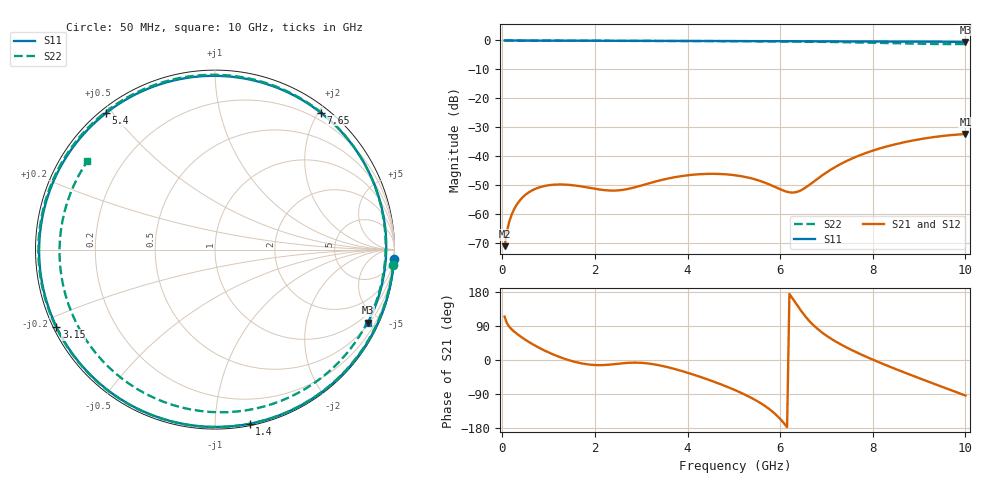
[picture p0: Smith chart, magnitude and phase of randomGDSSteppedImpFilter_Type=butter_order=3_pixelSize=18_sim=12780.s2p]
! freq	dB(S11)	phase(S11)	dB(S12)	phase(S12)
!  dB(S21)	phase(S21)	dB(S22)	phase(S22)
!S-par simulation data
#  GHz  S  DB  R 50
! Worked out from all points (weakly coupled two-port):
!   200 points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, 50 MHz to 10 GHz, reference 50 ohm
!   highest |S21| = -32.36 dB at 10 GHz (marker M1); lowest = -71.1 dB at 50 MHz (marker M2)
!   lowest |S11| = -0.5 dB at 10 GHz (marker M3), VSWR 34.69, Z = 28.9 - j216 ohm
!   |S11| at or under -10 dB: nowhere
!   |S22| runs from -1.3 to 0.0 dB; largest |S21 - S12| = 0
!   S11 on the Smith chart (normalised r, x): 50 MHz: 1, -39; 1.4 GHz: 0.01, -1.22; 3.15 GHz: 0.01, -0.23; 5.4 GHz: 0.02, +0.48; 7.65 GHz: 0.09, +2.03; 10 GHz: 0.58, -4.33
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0.05  -0.01 -2.9  -71.13 114.5  -71.13 114.5  -0.02 -5.0
0.1  -0.02 -5.9  -65.97 97.0  -65.97 97.0  -0.04 -9.8
0.2  -0.03 -11.8  -60.32 81.2  -60.32 81.2  -0.06 -19.4
0.45  -0.04 -26.6  -54.08 57.3  -54.08 57.3  -0.07 -42.6
0.9  -0.07 -52.3  -50.36 25.7  -50.36 25.7  -0.09 -80.4
1.4  -0.09 -78.8  -49.88 1.0  -49.88 1.0  -0.11 -115.1
1.75  -0.11 -95.8  -50.58 -9.8  -50.58 -9.8  -0.12 -135.6
2.4  -0.13 -124.6  -51.92 -11.2  -51.92 -11.2  -0.13 -167.9
3.15  -0.15 -154.0  -49.48 -9.2  -49.48 -9.2  -0.15 160.0
3.4  -0.16 -163.2  -48.40 -14.3  -48.40 -14.3  -0.16 149.8
4.3  -0.19 165.5  -46.21 -45.6  -46.21 -45.6  -0.20 113.4
5.05  -0.22 140.4  -46.66 -80.8  -46.66 -80.8  -0.24 81.4
5.4  -0.24 128.8  -47.77 -101.3  -47.77 -101.3  -0.27 65.6
6.25  -0.27 100.2  -52.59 165.7  -52.59 165.7  -0.37 23.6
6.7  -0.29 84.9  -49.11 94.1  -49.11 94.1  -0.44 -0.8
7.15  -0.30 69.5  -44.13 52.3  -44.13 52.3  -0.54 -26.6
7.65  -0.32 52.3  -40.15 20.1  -40.15 20.1  -0.68 -56.9
8.35  -0.35 28.4  -36.46 -16.8  -36.46 -16.8  -0.92 -101.9
8.75  -0.37 14.9  -34.96 -36.1  -34.96 -36.1  -1.06 -128.6
9.2  -0.41 -0.1  -33.68 -57.2  -33.68 -57.2  -1.19 -159.5
9.6  -0.45 -13.0  -32.87 -75.6  -32.87 -75.6  -1.26 172.9
10  -0.50 -25.6  -32.36 -93.7  -32.36 -93.7  -1.26 145.3
